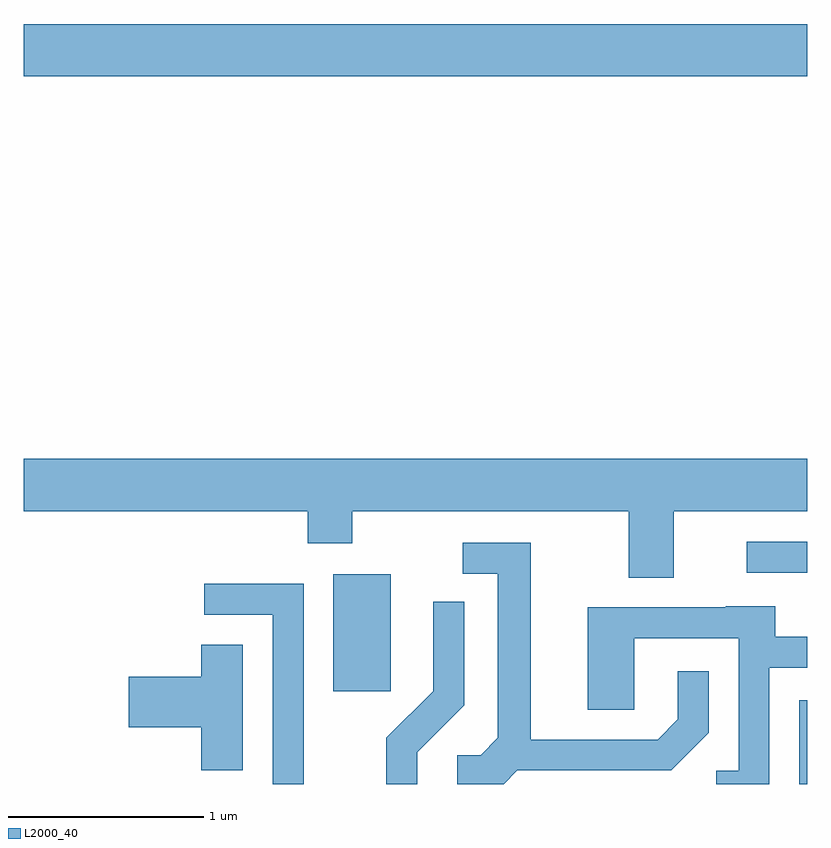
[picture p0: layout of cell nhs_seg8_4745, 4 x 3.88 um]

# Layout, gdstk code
import gdstk
lib = gdstk.Library(unit=1e-6, precision=1e-09)
def R(c, l, rs):  # rectangles x0, y0, x1, y1
    for r in rs: c.add(gdstk.rectangle(r[:2], r[2:], *l))
def P(c, l, *ps):  # polygons
    for p in ps: c.add(gdstk.Polygon(p, *l))
L2000_40 = (2000, 40)

nhs_seg8_4745 = lib.new_cell('nhs_seg8_4745')
R(nhs_seg8_4745, L2000_40, [(331.571,1848.342,331.611,1848.769), (329.191,1848.816,329.484,1849.414), (331.303,1849.421,331.611,1849.579), (327.611,1851.956,331.611,1852.224)])
P(nhs_seg8_4745, L2000_40, [(330.929,1849.736),(331.611,1849.736),(331.611,1850.004),(327.611,1850.004),(327.611,1849.736),(329.061,1849.736),(329.061,1849.571),(329.289,1849.571),(329.289,1849.736),(330.701,1849.736),(330.701,1849.396),(330.929,1849.396)],
  [(330.132,1848.411),(330.917,1848.411),(331.109,1848.604),(331.109,1848.918),(330.951,1848.918),(330.951,1848.672),(330.849,1848.569),(330.199,1848.569),(330.199,1849.574),(329.853,1849.574),(329.853,1849.416),(330.031,1849.416),(330.031,1848.577),(329.944,1848.489),(329.823,1848.489),(329.823,1848.342),(330.063,1848.342)],
  [(329.039,1849.364),(328.533,1849.364),(328.533,1849.206),(328.881,1849.206),(328.881,1848.342),(329.039,1848.342)],
  [(329.619,1848.504),(329.859,1848.744),(329.859,1849.273),(329.701,1849.273),(329.701,1848.817),(329.461,1848.577),(329.461,1848.342),(329.619,1848.342)],
  [(331.419,1848.936),(331.611,1848.936),(331.611,1849.094),(331.449,1849.094),(331.449,1849.249),(331.195,1849.249),(331.195,1849.244),(330.491,1849.244),(330.491,1848.721),(330.729,1848.721),(330.729,1849.086),(331.261,1849.086),(331.261,1848.409),(331.148,1848.409),(331.148,1848.342),(331.419,1848.342)],
  [(328.729,1849.054),(328.516,1849.054),(328.516,1848.889),(328.146,1848.889),(328.146,1848.631),(328.516,1848.631),(328.516,1848.411),(328.729,1848.411)])

lib.write_gds('nhs_seg8_4745.gds')
